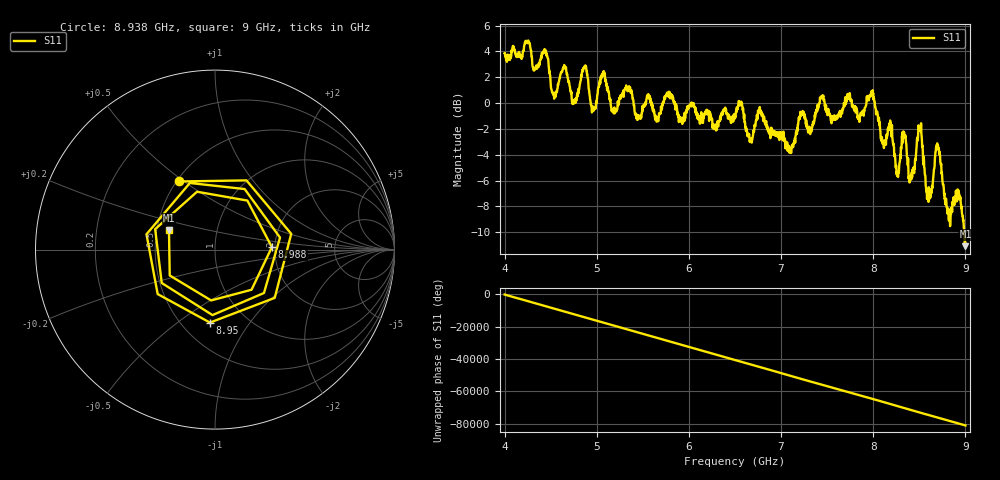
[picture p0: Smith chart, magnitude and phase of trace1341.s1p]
! Created with skrf 1.8.0 (http://scikit-rf.org).
# Hz S RI R 50.0
!freq ReS11 ImS11
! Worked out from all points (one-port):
!   1601 points, 4 GHz to 9 GHz, reference 50 ohm
!   lowest |S11| = -11.1 dB at 9 GHz (marker M1), VSWR 1.77, Z = 29 + j6.9 ohm
!   |S11| at or under -10 dB: 8.988212 GHz to end of sweep
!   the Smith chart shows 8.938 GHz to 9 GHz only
!   S11 on the Smith chart (normalised r, x): 8.938 GHz: 0.51, +0.48; 8.95 GHz: 0.68, -0.67; 8.988 GHz: 1.93, +0.06; 9 GHz: 0.58, +0.14
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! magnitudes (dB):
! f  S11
! 4 GHz  3.9
! 4.438 GHz  3.9
! 4.541 GHz  0.6
! 4.625 GHz  2.4
! 4.753 GHz  0.0
! 4.866 GHz  2.8
! 4.962 GHz  -0.5
! 5.066 GHz  2.3
! 5.178 GHz  -0.6
! 5.25 GHz  0.4
! 5.875 GHz  -0.9
! 6.5 GHz  -0.9
! 7.125 GHz  -3.2
! 7.222 GHz  -0.8
! 7.75 GHz  0.3
! 7.988 GHz  0.7
! 8.256 GHz  -5.3
! 8.334 GHz  -2.3
! 8.375 GHz  -4.8
! 8.425 GHz  -5.2
! 8.503 GHz  -1.8
! 8.597 GHz  -6.7
! 8.7 GHz  -3.3
! 8.819 GHz  -9.0
! 8.938 GHz  -7.3
! 8.95 GHz  -7.8
! 8.988 GHz  -10.0
! 9 GHz  -11.1
